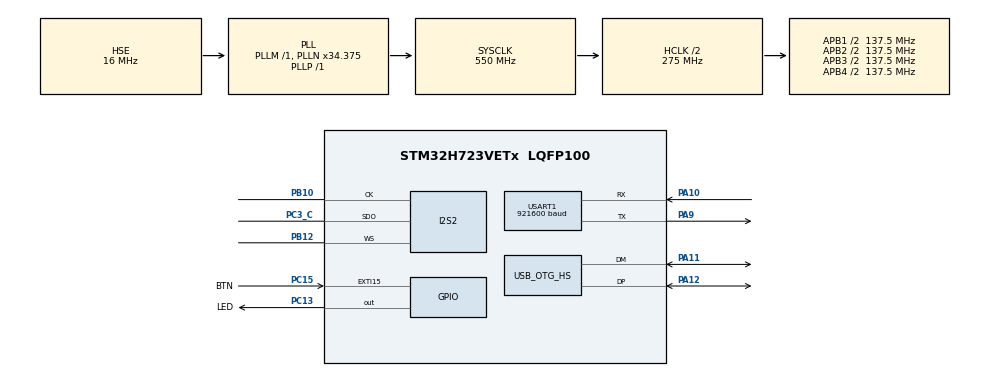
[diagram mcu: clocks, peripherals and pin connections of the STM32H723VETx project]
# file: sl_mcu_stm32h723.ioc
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CORTEX_M7.CPU_ICache=Enabled
CORTEX_M7.default_mode_Activation=1
Dma.Request0=SPI2_TX
Dma.SPI2_TX.0.Direction=DMA_MEMORY_TO_PERIPH
Dma.SPI2_TX.0.EventEnable=DISABLE
Dma.SPI2_TX.0.FIFOMode=DMA_FIFOMODE_DISABLE
Dma.SPI2_TX.0.Instance=DMA1_Stream0
Dma.SPI2_TX.0.MemDataAlignment=DMA_MDATAALIGN_HALFWORD
Dma.SPI2_TX.0.MemInc=DMA_MINC_ENABLE
Dma.SPI2_TX.0.Mode=DMA_CIRCULAR
Dma.SPI2_TX.0.PeriphDataAlignment=DMA_PDATAALIGN_HALFWORD
Dma.SPI2_TX.0.PeriphInc=DMA_PINC_DISABLE
Dma.SPI2_TX.0.Polarity=HAL_DMAMUX_REQ_GEN_RISING
Dma.SPI2_TX.0.Priority=DMA_PRIORITY_LOW
Dma.SPI2_TX.0.RequestNumber=1
Dma.SPI2_TX.0.SignalID=NONE
Dma.SPI2_TX.0.SyncEnable=DISABLE
Dma.SPI2_TX.0.SyncPolarity=HAL_DMAMUX_SYNC_NO_EVENT
Dma.SPI2_TX.0.SyncRequestNumber=1
Dma.SPI2_TX.0.SyncSignalID=NONE
I2S2.AudioFreq=I2S_AUDIOFREQ_48K
I2S2.ErrorAudioFreq=0.0 %
I2S2.Instance=SPI$Index
I2S2.RealAudioFreq=48.0 KHz
Mcu.Family=STM32H7
Mcu.Name=STM32H723VETx
Mcu.Package=LQFP100
NVIC.DMA1_Stream0_IRQn=true\:0\:0\:false\:false\:true\:false\:true\:true
NVIC.EXTI15_10_IRQn=true\:0\:0\:false\:false\:true\:true\:true\:true
NVIC.OTG_HS_EP1_IN_IRQn=true\:0\:0\:false\:false\:true\:true\:true\:true
NVIC.OTG_HS_EP1_OUT_IRQn=true\:0\:0\:false\:false\:true\:true\:true\:true
NVIC.OTG_HS_IRQn=true\:0\:0\:false\:false\:true\:true\:true\:true
NVIC.PriorityGroup=NVIC_PRIORITYGROUP_4
PA10.Mode=Asynchronous
PA10.Signal=USART1_RX
PA11.Mode=Device_Only_FS
PA11.Signal=USB_OTG_HS_DM
PA12.Mode=Device_Only_FS
PA12.Signal=USB_OTG_HS_DP
PA13(JTMS/SWDIO).Mode=Trace_Asynchronous_SW
PA13(JTMS/SWDIO).Signal=DEBUG_JTMS-SWDIO
PA14(JTCK/SWCLK).Mode=Trace_Asynchronous_SW
PA14(JTCK/SWCLK).Signal=DEBUG_JTCK-SWCLK
PA9.Mode=Asynchronous
PA9.Signal=USART1_TX
PB10.Mode=Half_Duplex_Master_Tx
PB10.Signal=I2S2_CK
PB12.Mode=Half_Duplex_Master_Tx
PB12.Signal=I2S2_WS
PB3(JTDO/TRACESWO).Mode=Trace_Asynchronous_SW
PB3(JTDO/TRACESWO).Signal=DEBUG_JTDO-SWO
PC13.GPIO_Label=LED
PC13.GPIO_ModeDefaultOutputPP=GPIO_MODE_OUTPUT_OD
PC13.GPIO_PuPd=GPIO_NOPULL
PC13.PinState=GPIO_PIN_SET
PC13.Signal=GPIO_Output
PC15-OSC32_OUT.GPIO_Label=BTN
PC15-OSC32_OUT.GPIO_ModeDefaultEXTI=GPIO_MODE_IT_FALLING
PC15-OSC32_OUT.GPIO_PuPd=GPIO_PULLUP
PC15-OSC32_OUT.Signal=GPXTI15
PC3_C.Mode=Half_Duplex_Master_Tx
PC3_C.Signal=I2S2_SDO
PH0-OSC_IN.Mode=HSE-External-Oscillator
PH0-OSC_IN.Signal=RCC_OSC_IN
PH1-OSC_OUT.Mode=HSE-External-Oscillator
PH1-OSC_OUT.Signal=RCC_OSC_OUT
ProjectManager.HeapSize=0x200
ProjectManager.StackSize=0x400
ProjectManager.TargetToolchain=STM32CubeIDE
RCC.ADCFreq_Value=192000000
RCC.APB1Freq_Value=137500000
RCC.APB2Freq_Value=137500000
RCC.APB3Freq_Value=137500000
RCC.APB4Freq_Value=137500000
RCC.CortexFreq_Value=550000000
RCC.D1PPRE=RCC_APB3_DIV2
RCC.D2PPRE1=RCC_APB1_DIV2
RCC.D2PPRE2=RCC_APB2_DIV2
RCC.D3PPRE=RCC_APB4_DIV2
RCC.DIVM1=1
RCC.DIVM2=4
RCC.DIVN1=34
RCC.DIVN2=96
RCC.DIVP1=1
RCC.DIVQ1=5
RCC.HCLKFreq_Value=275000000
RCC.HPRE=RCC_HCLK_DIV2
RCC.HSE_VALUE=16000000
RCC.PLL2FRACN=0
RCC.PLL3FRACN=0
RCC.PLLFRACN=3072
RCC.PLLSourceVirtual=RCC_PLLSOURCE_HSE
RCC.SPI123CLockSelection=RCC_SPI123CLKSOURCE_PLL2
RCC.SYSCLKFreq_VALUE=550000000
RCC.SYSCLKSource=RCC_SYSCLKSOURCE_PLLCLK
RCC.USBCLockSelection=RCC_USBCLKSOURCE_HSI48
RCC.USBFreq_Value=48000000
USART1.BaudRate=921600
USART1.VirtualMode-Asynchronous=VM_ASYNC
USB_OTG_HS.VirtualMode-Device_Only_FS=Device_Only_FS
VP_MEMORYMAP_VS_MEMORYMAP.Mode=CurAppReg
board=custom

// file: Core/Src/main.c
/* USER CODE BEGIN Header */
/*----------------------------------------------------------------------------
 | @file           : main.c
 | @brief          : cmsynth on the STM32H723
 |----------------------------------------------------------------------------
 | @attention
 |
 | Copyright (c) 2026 CurrentMakers
 |
 | Released under the MIT License, see the LICENSE file in the root of
 | the cmsynth repository.
 |
 |----------------------------------------------------------------------------*/
/* USER CODE END Header */
#include "main.h"

/* USER CODE BEGIN Includes */
#include <stdio.h>
#include "tusb.h"
#include "synth.h"
/* USER CODE END Includes */

/* USER CODE BEGIN PD */

// One synth block per half-buffer (64 frames = 1.33 ms)
#define I2S_DMA_BUFFER_SAMPLES SYNTH_BLOCK_SIZE

// Stereo (2 channels) * 2 half-buffers (Ping-Pong) * Samples
#define I2S_DMA_BUFFER_SIZE (2 * 2 * I2S_DMA_BUFFER_SAMPLES)

// Print cycles per sample for each synth stage at startup
#define SYNTH_BENCHMARK 1

/* USER CODE END PD */

I2S_HandleTypeDef hi2s2;
DMA_HandleTypeDef hdma_spi2_tx;

UART_HandleTypeDef huart1;

PCD_HandleTypeDef hpcd_USB_OTG_HS;

/* USER CODE BEGIN PV */

// In the AXI SRAM (DMA1 cannot reach the DTCM). The data cache is on, so each
// half is cleaned to RAM after rendering; 32 byte aligned for that.
int16_t i2s_dma_buffer[I2S_DMA_BUFFER_SIZE] __attribute__((aligned(32)));
volatile int16_t *dma_buffer_to_fill = NULL; // Deferred buffer processing pointer (volatile for ISR safety)

uint8_t change_wave = 0;

// Audio CPU load statistics (DWT cycle counter)
volatile uint32_t dma_overruns = 0;   // Half-buffers the main loop did not fill in time
uint32_t perf_cycles_sum = 0;
uint32_t perf_cycles_max = 0;
uint32_t perf_blocks = 0;

/* USER CODE END PV */

void SystemClock_Config(void);
static void MPU_Config(void);
static void MX_GPIO_Init(void);
static void MX_DMA_Init(void);
static void MX_I2S2_Init(void);
static void MX_USART1_UART_Init(void);
static void MX_USB_OTG_HS_PCD_Init(void);

/* USER CODE BEGIN 0 */

uint32_t dwt_cycles(void) {
    return DWT->CYCCNT;
}

/*
 * Non-blocking printf: characters go into a ring buffer that the USART1 TXE
 * interrupt empties, so debug output never stalls audio rendering. When the
 * buffer is full, characters are dropped rather than waiting.
 */
#define UART_TX_BUFFER_SIZE 2048

static volatile uint8_t uart_tx_buffer[UART_TX_BUFFER_SIZE];
static volatile uint16_t uart_tx_head = 0;
static volatile uint16_t uart_tx_tail = 0;

static void uart_put(uint8_t c) {
    uint16_t next = (uart_tx_head + 1) % UART_TX_BUFFER_SIZE;
    if (next == uart_tx_tail)
        return; // Full, drop
    uart_tx_buffer[uart_tx_head] = c;
    uart_tx_head = next;
    SET_BIT(USART1->CR1, USART_CR1_TXEIE_TXFNFIE);
}

// Called from USART1_IRQHandler (stm32h7xx_it.c)
void uart_tx_irq(void) {
    if ((USART1->ISR & USART_ISR_TXE_TXFNF) && (USART1->CR1 & USART_CR1_TXEIE_TXFNFIE)) {
        if (uart_tx_tail != uart_tx_head) {
            USART1->TDR = uart_tx_buffer[uart_tx_tail];
            uart_tx_tail = (uart_tx_tail + 1) % UART_TX_BUFFER_SIZE;
        } else {
            CLEAR_BIT(USART1->CR1, USART_CR1_TXEIE_TXFNFIE);
        }
    }
}

int __io_putchar(int ch) {
    if (ch == '\n')
        uart_put('\r');
    uart_put((uint8_t) ch);
    return ch;
}

/* Deferred ISR Callbacks Correctly dynamic for buffer size */
void HAL_I2S_TxHalfCpltCallback(I2S_HandleTypeDef *hi2s) {
    if (hi2s->Instance == SPI2) {
        if (dma_buffer_to_fill != NULL)
            ++dma_overruns;
        dma_buffer_to_fill = &i2s_dma_buffer[0];
    }
}

void HAL_I2S_TxCpltCallback(I2S_HandleTypeDef *hi2s) {
    if (hi2s->Instance == SPI2) {
        if (dma_buffer_to_fill != NULL)
            ++dma_overruns;
        dma_buffer_to_fill = &i2s_dma_buffer[I2S_DMA_BUFFER_SIZE / 2];
    }
}

void HAL_GPIO_EXTI_Callback(uint16_t GPIO_Pin) {
    if (GPIO_Pin == BTN_Pin) {
        change_wave = 1;
    }
}

/* USER CODE END 0 */

int main(void)
{

    /* MPU Configuration--------------------------------------------------------*/
    MPU_Config();

    /* Enable the CPU Cache */

    /* Enable I-Cache---------------------------------------------------------*/
    SCB_EnableICache();

    /* MCU Configuration--------------------------------------------------------*/

    /* Reset of all peripherals, Initializes the Flash interface and the Systick. */
    HAL_Init();

    /* Configure the system clock */
    SystemClock_Config();

    /* Initialize all configured peripherals */
    MX_GPIO_Init();
    MX_DMA_Init();
    MX_I2S2_Init();
    MX_USART1_UART_Init();
    MX_USB_OTG_HS_PCD_Init();
    /* USER CODE BEGIN 2 */

    // Data cache on: the voices are in the DTCM (never cached), the rest of
    // the synth state and the stack in the AXI SRAM run much faster with it.
    // The DMA buffer is cleaned after every block (see the main loop).
    SCB_EnableDCache();

    printf("\n\n\ncmsynth on the STM32H723 (%lu MHz, %d voices)\n", SystemCoreClock / 1000000, MAX_VOICES);

    // UART TX interrupt for the non-blocking printf
    HAL_NVIC_SetPriority(USART1_IRQn, 6, 0);
    HAL_NVIC_EnableIRQ(USART1_IRQn);

    // Enable USB IRQ for TinyUSB event handling
    HAL_NVIC_SetPriority(OTG_HS_IRQn, 5, 0);
    HAL_NVIC_EnableIRQ(OTG_HS_IRQn);

    // Enable the DWT cycle counter for CPU load measurement (the M7 needs it unlocked)
    CoreDebug->DEMCR |= CoreDebug_DEMCR_TRCENA_Msk;
    DWT->LAR = 0xC5ACCE55;
    DWT->CYCCNT = 0;
    DWT->CTRL |= DWT_CTRL_CYCCNTENA_Msk;

    // Cycles available per audio block
    const uint32_t block_budget = SystemCoreClock / SAMPLE_FREQ * SYNTH_BLOCK_SIZE;

    synth_init();
    synth_set_master_volume(0.5f);

#if SYNTH_BENCHMARK
    synth_benchmark(dwt_cycles);
#endif
    synth_init();

    // Start I2S DMA transmission using full buffer size
    SCB_CleanDCache_by_Addr((uint32_t*) i2s_dma_buffer, sizeof(i2s_dma_buffer));
    HAL_I2S_Transmit_DMA(&hi2s2, (uint16_t*) i2s_dma_buffer, I2S_DMA_BUFFER_SIZE);

    // Initialize TinyUSB Device stack
    tusb_init();

    // Soft connect on the OTG_HS peripheral (pulls D+ high via the internal resistor)
    HAL_PCD_DevConnect(&hpcd_USB_OTG_HS);

    /* USER CODE END 2 */

    /* Infinite loop */
    /* USER CODE BEGIN WHILE */

    uint32_t now = 0;
    uint32_t loop_cnt = 0;
    uint32_t next_blink = 500;
    uint32_t next_tick = 1000;

    while (1) {

        // Process audio buffer IMMEDIATELY when requested by ISR
        if (dma_buffer_to_fill != NULL) {
            int16_t *buf = (int16_t*) dma_buffer_to_fill;
            dma_buffer_to_fill = NULL; // Clear flag before processing to prevent double-fills

            uint32_t start = DWT->CYCCNT;
            synth_process(buf);
            uint32_t cycles = DWT->CYCCNT - start;

            // Write the rendered half from the data cache to RAM for the DMA
            SCB_CleanDCache_by_Addr((uint32_t*) buf, I2S_DMA_BUFFER_SIZE / 2 * sizeof(int16_t));

            perf_cycles_sum += cycles;
            if (cycles > perf_cycles_max)
                perf_cycles_max = cycles;
            ++perf_blocks;
        }

        // 2. Handle TinyUSB events
        tud_task();

        // 3. Low priority tasks
        now = uwTick;

        if (change_wave) {
            printf("Ch  1 osc1 wave -> %d\n", synth_next_wave(0));
            change_wave = 0;
        }

        if (now >= next_blink) {
            HAL_GPIO_TogglePin(LED_GPIO_Port, LED_Pin);
            next_blink = now + 500;
        }

        if (now >= next_tick) {
            uint32_t avg = perf_blocks ? perf_cycles_sum / perf_blocks : 0;
            printf("Tick %lu (loop=%lu) voices=%d cpu avg=%lu.%lu%% max=%lu.%lu%% (%lu/%lu cycles) overruns=%lu\n",
                    now / 1000, loop_cnt, synth_active_voices(),
                    avg * 100 / block_budget, (avg * 1000 / block_budget) % 10,
                    perf_cycles_max * 100 / block_budget, (perf_cycles_max * 1000 / block_budget) % 10,
                    perf_cycles_max, block_budget, dma_overruns);
            perf_cycles_sum = perf_cycles_max = perf_blocks = 0;
            loop_cnt = 0;
            next_tick = now + 1000;
        }

        ++loop_cnt;

        /* USER CODE END WHILE */

    }
}

void SystemClock_Config(void)
{
    RCC_OscInitTypeDef RCC_OscInitStruct = { 0 };
    RCC_ClkInitTypeDef RCC_ClkInitStruct = { 0 };

    /** Supply configuration update enable
     */
    HAL_PWREx_ConfigSupply(PWR_LDO_SUPPLY);

    /** Configure the main internal regulator output voltage
     */
    __HAL_PWR_VOLTAGESCALING_CONFIG(PWR_REGULATOR_VOLTAGE_SCALE0);

    while (!__HAL_PWR_GET_FLAG(PWR_FLAG_VOSRDY)) {
    }

    /** Initializes the RCC Oscillators according to the specified parameters
     * in the RCC_OscInitTypeDef structure.
     */
    RCC_OscInitStruct.OscillatorType = RCC_OSCILLATORTYPE_HSI48 | RCC_OSCILLATORTYPE_HSE;
    RCC_OscInitStruct.HSEState = RCC_HSE_ON;
    RCC_OscInitStruct.HSI48State = RCC_HSI48_ON;
    RCC_OscInitStruct.PLL.PLLState = RCC_PLL_ON;
    RCC_OscInitStruct.PLL.PLLSource = RCC_PLLSOURCE_HSE;
    RCC_OscInitStruct.PLL.PLLM = 1;
    RCC_OscInitStruct.PLL.PLLN = 34;
    RCC_OscInitStruct.PLL.PLLP = 1;
    RCC_OscInitStruct.PLL.PLLQ = 5;
    RCC_OscInitStruct.PLL.PLLR = 2;
    RCC_OscInitStruct.PLL.PLLRGE = RCC_PLL1VCIRANGE_3;
    RCC_OscInitStruct.PLL.PLLVCOSEL = RCC_PLL1VCOWIDE;
    RCC_OscInitStruct.PLL.PLLFRACN = 3072;
    if (HAL_RCC_OscConfig(&RCC_OscInitStruct) != HAL_OK)
            {
        Error_Handler();
    }

    /** Initializes the CPU, AHB and APB buses clocks
     */
    RCC_ClkInitStruct.ClockType = RCC_CLOCKTYPE_HCLK | RCC_CLOCKTYPE_SYSCLK
            | RCC_CLOCKTYPE_PCLK1 | RCC_CLOCKTYPE_PCLK2
            | RCC_CLOCKTYPE_D3PCLK1 | RCC_CLOCKTYPE_D1PCLK1;
    RCC_ClkInitStruct.SYSCLKSource = RCC_SYSCLKSOURCE_PLLCLK;
    RCC_ClkInitStruct.SYSCLKDivider = RCC_SYSCLK_DIV1;
    RCC_ClkInitStruct.AHBCLKDivider = RCC_HCLK_DIV2;
    RCC_ClkInitStruct.APB3CLKDivider = RCC_APB3_DIV2;
    RCC_ClkInitStruct.APB1CLKDivider = RCC_APB1_DIV2;
    RCC_ClkInitStruct.APB2CLKDivider = RCC_APB2_DIV2;
    RCC_ClkInitStruct.APB4CLKDivider = RCC_APB4_DIV2;

    if (HAL_RCC_ClockConfig(&RCC_ClkInitStruct, FLASH_LATENCY_3) != HAL_OK)
            {
        Error_Handler();
    }
}

static void MX_I2S2_Init(void)
{

    hi2s2.Instance = SPI2;
    hi2s2.Init.Mode = I2S_MODE_MASTER_TX;
    hi2s2.Init.Standard = I2S_STANDARD_PHILIPS;
    hi2s2.Init.DataFormat = I2S_DATAFORMAT_16B;
    hi2s2.Init.MCLKOutput = I2S_MCLKOUTPUT_DISABLE;
    hi2s2.Init.AudioFreq = I2S_AUDIOFREQ_48K;
    hi2s2.Init.CPOL = I2S_CPOL_LOW;
    hi2s2.Init.FirstBit = I2S_FIRSTBIT_MSB;
    hi2s2.Init.WSInversion = I2S_WS_INVERSION_DISABLE;
    hi2s2.Init.Data24BitAlignment = I2S_DATA_24BIT_ALIGNMENT_RIGHT;
    hi2s2.Init.MasterKeepIOState = I2S_MASTER_KEEP_IO_STATE_DISABLE;
    if (HAL_I2S_Init(&hi2s2) != HAL_OK)
            {
        Error_Handler();
    }

}

static void MX_USART1_UART_Init(void)
{

    huart1.Instance = USART1;
    huart1.Init.BaudRate = 921600;
    huart1.Init.WordLength = UART_WORDLENGTH_8B;
    huart1.Init.StopBits = UART_STOPBITS_1;
    huart1.Init.Parity = UART_PARITY_NONE;
    huart1.Init.Mode = UART_MODE_TX_RX;
    huart1.Init.HwFlowCtl = UART_HWCONTROL_NONE;
    huart1.Init.OverSampling = UART_OVERSAMPLING_16;
    huart1.Init.OneBitSampling = UART_ONE_BIT_SAMPLE_DISABLE;
    huart1.Init.ClockPrescaler = UART_PRESCALER_DIV1;
    huart1.AdvancedInit.AdvFeatureInit = UART_ADVFEATURE_NO_INIT;
    if (HAL_UART_Init(&huart1) != HAL_OK)
            {
        Error_Handler();
    }
    if (HAL_UARTEx_SetTxFifoThreshold(&huart1, UART_TXFIFO_THRESHOLD_1_8) != HAL_OK)
            {
        Error_Handler();
    }
    if (HAL_UARTEx_SetRxFifoThreshold(&huart1, UART_RXFIFO_THRESHOLD_1_8) != HAL_OK)
            {
        Error_Handler();
    }
    if (HAL_UARTEx_DisableFifoMode(&huart1) != HAL_OK)
            {
        Error_Handler();
    }

}

static void MX_USB_OTG_HS_PCD_Init(void)
{

    hpcd_USB_OTG_HS.Instance = USB_OTG_HS;
    hpcd_USB_OTG_HS.Init.dev_endpoints = 9;
    hpcd_USB_OTG_HS.Init.speed = PCD_SPEED_FULL;
    hpcd_USB_OTG_HS.Init.dma_enable = DISABLE;
    hpcd_USB_OTG_HS.Init.phy_itface = USB_OTG_EMBEDDED_PHY;
    hpcd_USB_OTG_HS.Init.Sof_enable = DISABLE;
    hpcd_USB_OTG_HS.Init.low_power_enable = DISABLE;
    hpcd_USB_OTG_HS.Init.lpm_enable = DISABLE;
    hpcd_USB_OTG_HS.Init.vbus_sensing_enable = DISABLE;
    hpcd_USB_OTG_HS.Init.use_dedicated_ep1 = DISABLE;
    hpcd_USB_OTG_HS.Init.use_external_vbus = DISABLE;
    if (HAL_PCD_Init(&hpcd_USB_OTG_HS) != HAL_OK)
            {
        Error_Handler();
    }

}

static void MX_DMA_Init(void)
{

    /* DMA controller clock enable */
    __HAL_RCC_DMA1_CLK_ENABLE();

    /* DMA interrupt init */
    /* DMA1_Stream0_IRQn interrupt configuration */
    HAL_NVIC_SetPriority(DMA1_Stream0_IRQn, 0, 0);
    HAL_NVIC_EnableIRQ(DMA1_Stream0_IRQn);

}

static void MX_GPIO_Init(void)
{
    GPIO_InitTypeDef GPIO_InitStruct = { 0 };

    /* GPIO Ports Clock Enable */
    __HAL_RCC_GPIOC_CLK_ENABLE();
    __HAL_RCC_GPIOH_CLK_ENABLE();
    __HAL_RCC_GPIOB_CLK_ENABLE();
    __HAL_RCC_GPIOA_CLK_ENABLE();

    /*Configure GPIO pin Output Level */
    HAL_GPIO_WritePin(LED_GPIO_Port, LED_Pin, GPIO_PIN_SET);

    /*Configure GPIO pin : LED_Pin */
    GPIO_InitStruct.Pin = LED_Pin;
    GPIO_InitStruct.Mode = GPIO_MODE_OUTPUT_OD;
    GPIO_InitStruct.Pull = GPIO_NOPULL;
    GPIO_InitStruct.Speed = GPIO_SPEED_FREQ_LOW;
    HAL_GPIO_Init(LED_GPIO_Port, &GPIO_InitStruct);

    /*Configure GPIO pin : BTN_Pin */
    GPIO_InitStruct.Pin = BTN_Pin;
    GPIO_InitStruct.Mode = GPIO_MODE_IT_FALLING;
    GPIO_InitStruct.Pull = GPIO_PULLUP;
    HAL_GPIO_Init(BTN_GPIO_Port, &GPIO_InitStruct);

    /* EXTI interrupt init*/
    HAL_NVIC_SetPriority(BTN_EXTI_IRQn, 0, 0);
    HAL_NVIC_EnableIRQ(BTN_EXTI_IRQn);

}

/* MPU Configuration */

void MPU_Config(void)
{
    MPU_Region_InitTypeDef MPU_InitStruct = { 0 };

    /* Disables the MPU */
    HAL_MPU_Disable();

    /** Initializes and configures the Region and the memory to be protected
     */
    MPU_InitStruct.Enable = MPU_REGION_ENABLE;
    MPU_InitStruct.Number = MPU_REGION_NUMBER0;
    MPU_InitStruct.BaseAddress = 0x0;
    MPU_InitStruct.Size = MPU_REGION_SIZE_4GB;
    MPU_InitStruct.SubRegionDisable = 0x87;
    MPU_InitStruct.TypeExtField = MPU_TEX_LEVEL0;
    MPU_InitStruct.AccessPermission = MPU_REGION_NO_ACCESS;
    MPU_InitStruct.DisableExec = MPU_INSTRUCTION_ACCESS_DISABLE;
    MPU_InitStruct.IsShareable = MPU_ACCESS_SHAREABLE;
    MPU_InitStruct.IsCacheable = MPU_ACCESS_NOT_CACHEABLE;
    MPU_InitStruct.IsBufferable = MPU_ACCESS_NOT_BUFFERABLE;

    HAL_MPU_ConfigRegion(&MPU_InitStruct);
    /* Enables the MPU */
    HAL_MPU_Enable(MPU_PRIVILEGED_DEFAULT);

}

void Error_Handler(void)
{
    __disable_irq();
    while (1)
    {
    }
}
